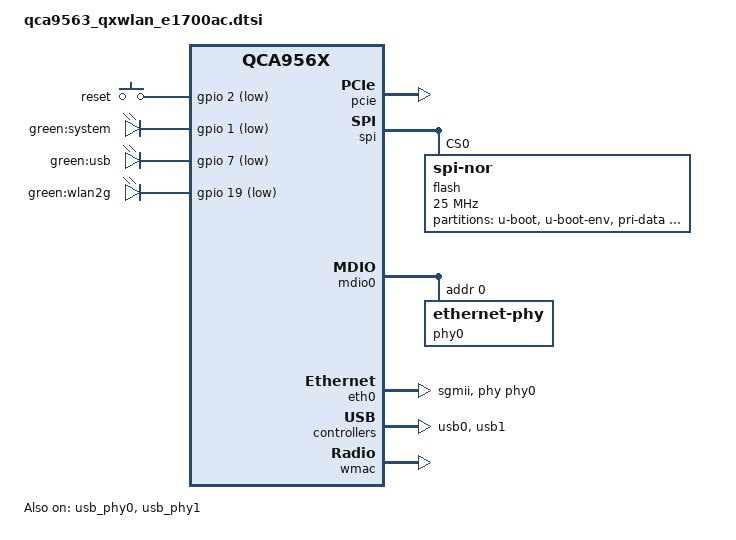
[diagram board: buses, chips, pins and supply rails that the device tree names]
// SPDX-License-Identifier: GPL-2.0-or-later OR MIT

#include "qca956x.dtsi"

#include <dt-bindings/gpio/gpio.h>
#include <dt-bindings/input/input.h>

/ {
	aliases {
		label-mac-device = &eth0;
		led-boot = &led_system;
		led-failsafe = &led_system;
		led-running = &led_system;
		led-upgrade = &led_system;
	};

	keys {
		compatible = "gpio-keys";

		reset {
			label = "reset";
			linux,code = <KEY_RESTART>;
			gpios = <&gpio 2 GPIO_ACTIVE_LOW>;
			debounce-interval = <60>;
		};
	};

	leds {
		compatible = "gpio-leds";

		led_system: system {
			label = "green:system";
			gpios = <&gpio 1 GPIO_ACTIVE_LOW>;
			default-state = "on";
		};

		usb {
			label = "green:usb";
			gpios = <&gpio 7 GPIO_ACTIVE_LOW>;
			trigger-sources = <&hub_port0>;
			linux,default-trigger = "usbport";
		};

		wlan2g {
			label = "green:wlan2g";
			gpios = <&gpio 19 GPIO_ACTIVE_LOW>;
			linux,default-trigger = "phy1tpt";
		};
	};
};

&pcie {
	status = "okay";
};

&spi {
	status = "okay";

	flash@0 {
		compatible = "jedec,spi-nor";
		reg = <0>;
		spi-max-frequency = <25000000>;

		partitions: partitions {
			compatible = "fixed-partitions";
			#address-cells = <1>;
			#size-cells = <1>;

			partition@0 {
				label = "u-boot";
				reg = <0x000000 0x040000>;
				read-only;
			};

			partition@40000 {
				label = "u-boot-env";
				reg = <0x040000 0x010000>;
				read-only;
			};

			pridata: partition@50000 {
				label = "pri-data";
				reg = <0x050000 0x010000>;
				read-only;
			};

			art: partition@60000 {
				label = "art";
				reg = <0x060000 0x010000>;
				read-only;
			};
		};
	};
};

&mdio0 {
	status = "okay";

	phy-mask = <0>;

	phy0: ethernet-phy@0 {
		reg = <0>;
		phy-mode = "sgmii";
		qca,mib-poll-interval = <500>;

		qca,ar8327-initvals = <
			0x04 0x00080080 /* PORT0 PAD MODE CTRL */
			0x7c 0x0000007e /* PORT0_STATUS */
		>;
	};
};

&eth0 {
	status = "okay";

	pll-data = <0x03000101 0x00000101 0x00001919>;

	phy-mode = "sgmii";
	phy-handle = <&phy0>;

	nvmem-cells = <&macaddr_pridata_400>;
	nvmem-cell-names = "mac-address";
};

&usb_phy0 {
	status = "okay";
};

&usb0 {
	#address-cells = <1>;
	#size-cells = <0>;
	status = "okay";

	hub_port0: port@1 {
		reg = <1>;
		#trigger-source-cells = <0>;
	};
};

&usb_phy1 {
	status = "okay";
};

&usb1 {
	status = "okay";
};

&wmac {
	status = "okay";

	mtd-cal-data = <&art 0x1000>;
};

&pridata {
	compatible = "nvmem-cells";
	#address-cells = <1>;
	#size-cells = <1>;

	macaddr_pridata_400: macaddr@400 {
		reg = <0x400 0x6>;
	};
};
